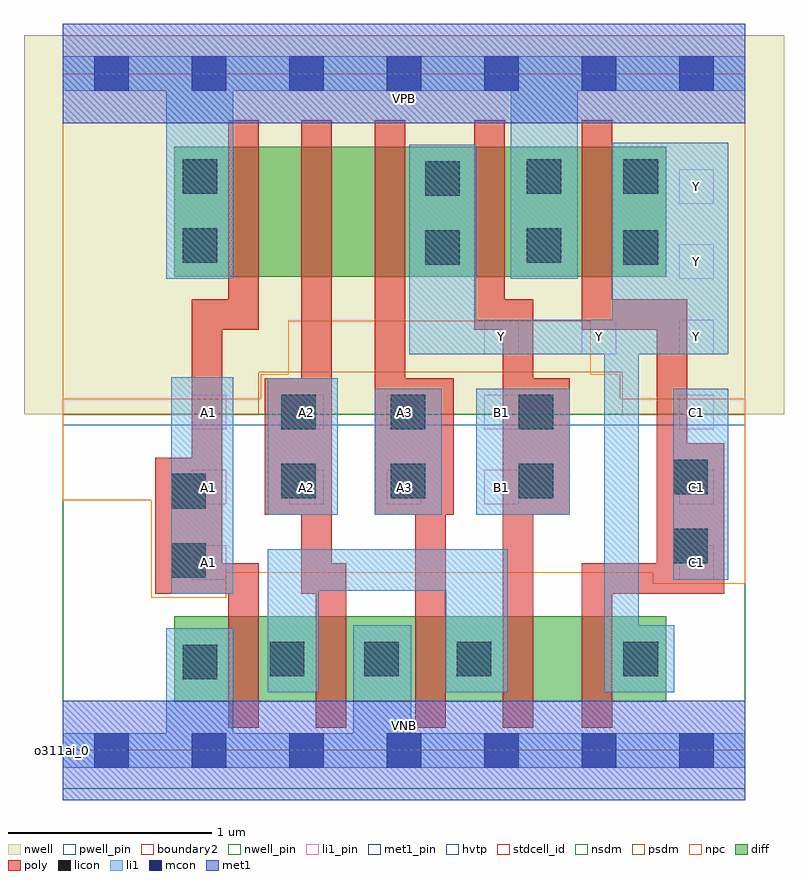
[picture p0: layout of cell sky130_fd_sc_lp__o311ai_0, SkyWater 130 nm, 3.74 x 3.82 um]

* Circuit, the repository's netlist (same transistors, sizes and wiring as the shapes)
* Copyright 2020 The SkyWater PDK Authors
*
* Licensed under the Apache License, Version 2.0 (the "License");
* you may not use this file except in compliance with the License.
* You may obtain a copy of the License at
*
*     https://www.apache.org/licenses/LICENSE-2.0
*
* Unless required by applicable law or agreed to in writing, software
* distributed under the License is distributed on an "AS IS" BASIS,
* WITHOUT WARRANTIES OR CONDITIONS OF ANY KIND, either express or implied.
* See the License for the specific language governing permissions and
* limitations under the License.
*
* SPDX-License-Identifier: Apache-2.0

.SUBCKT sky130_fd_sc_lp__o311ai_0 A1 A2 A3 B1 C1 VGND VNB VPB VPWR Y
*.PININFO A1:I A2:I A3:I B1:I C1:I VGND:I VNB:I VPB:I VPWR:I Y:O
MMPA0 VPWR A1 sndA1 VPB sky130_fd_pr__pfet_01v8_hvt m=1 w=0.64U l=0.15U mult=1
+ sa=0.265 sb=0.265 sd=0.28 area=0.063 perim=1.14
MMPA1 sndA1 A2 sndA2 VPB sky130_fd_pr__pfet_01v8_hvt m=1 w=0.64U l=0.15U mult=1
+ sa=0.265 sb=0.265 sd=0.28 area=0.063 perim=1.14
MMPA2 sndA2 A3 Y VPB sky130_fd_pr__pfet_01v8_hvt m=1 w=0.64U l=0.15U mult=1 sa=0.265
+ sb=0.265 sd=0.28 area=0.063 perim=1.14
MMPB0 VPWR B1 Y VPB sky130_fd_pr__pfet_01v8_hvt m=1 w=0.64U l=0.15U mult=1 sa=0.265
+ sb=0.265 sd=0.28 area=0.063 perim=1.14
MMPC0 VPWR C1 Y VPB sky130_fd_pr__pfet_01v8_hvt m=1 w=0.64U l=0.15U mult=1 sa=0.265
+ sb=0.265 sd=0.28 area=0.063 perim=1.14
MMNA0 pndA A1 VGND VNB sky130_fd_pr__nfet_01v8 m=1 w=0.42U l=0.15U mult=1 sa=0.265
+ sb=0.265 sd=0.28 area=0.063 perim=1.14
MMNA1 pndA A2 VGND VNB sky130_fd_pr__nfet_01v8 m=1 w=0.42U l=0.15U mult=1 sa=0.265
+ sb=0.265 sd=0.28 area=0.063 perim=1.14
MMNA2 pndA A3 VGND VNB sky130_fd_pr__nfet_01v8 m=1 w=0.42U l=0.15U mult=1 sa=0.265
+ sb=0.265 sd=0.28 area=0.063 perim=1.14
MMNB0 pndB B1 pndA VNB sky130_fd_pr__nfet_01v8 m=1 w=0.42U l=0.15U mult=1 sa=0.265
+ sb=0.265 sd=0.28 area=0.063 perim=1.14
MMNC0 Y C1 pndB VNB sky130_fd_pr__nfet_01v8 m=1 w=0.42U l=0.15U mult=1 sa=0.265
+ sb=0.265 sd=0.28 area=0.063 perim=1.14
.ENDS sky130_fd_sc_lp__o311ai_0

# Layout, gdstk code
import gdstk
lib = gdstk.Library(unit=1e-6, precision=1e-09)
def R(c, l, rs):  # rectangles x0, y0, x1, y1
    for r in rs: c.add(gdstk.rectangle(r[:2], r[2:], *l))
def A(c, l, x, y, w, h, nx, ny, dx, dy):  # array of equal rectangles
    R(c, l, [(x+i*dx, y+j*dy, x+i*dx+w, y+j*dy+h) for i in range(nx) for j in range(ny)])
def P(c, l, *ps):  # polygons
    for p in ps: c.add(gdstk.Polygon(p, *l))
nwell_pin = (64, 16)
nwell = (64, 20)
diff = (65, 20)
poly = (66, 20)
licon = (66, 44)
li1_pin = (67, 16)
li1 = (67, 20)
mcon = (67, 44)
met1_pin = (68, 16)
met1 = (68, 20)
hvtp = (78, 44)
stdcell_id = (81, 4)
nsdm = (93, 44)
psdm = (94, 20)
npc = (95, 20)
pwell_pin = (122, 16)
boundary2 = (236, 0)

sky130_fd_sc_lp__o311ai_ = lib.new_cell('sky130_fd_sc_lp__o311ai_0')
R(sky130_fd_sc_lp__o311ai_, nwell_pin, [(0,3.085,3.36,3.33)])
R(sky130_fd_sc_lp__o311ai_, nwell, [(-0.19,1.655,3.55,3.52)])
R(sky130_fd_sc_lp__o311ai_, diff, [(0.55,0.24,2.97,0.66), (0.55,2.33,2.97,2.97)])
P(sky130_fd_sc_lp__o311ai_, poly, [(0.965,0.92),(0.785,0.92),(0.785,2.07),(0.965,2.07),(0.965,3.1),(0.815,3.1),(0.815,2.22),(0.635,2.22),(0.635,1.44),(0.455,1.44),(0.455,0.77),(0.815,0.77),(0.815,0.11),(0.965,0.11)],
  [(1.395,0.92),(1.325,0.92),(1.325,3.1),(1.175,3.1),(1.175,1.83),(0.995,1.83),(0.995,1.16),(1.175,1.16),(1.175,0.77),(1.245,0.77),(1.245,0.11),(1.395,0.11)],
  [(1.925,1.83),(1.685,1.83),(1.685,3.1),(1.535,3.1),(1.535,1.16),(1.735,1.16),(1.735,0.11),(1.885,0.11),(1.885,1.16),(1.925,1.16)],
  [(2.495,1.83),(2.315,1.83),(2.315,2.22),(2.175,2.22),(2.175,3.1),(2.025,3.1),(2.025,2.07),(2.165,2.07),(2.165,0.11),(2.315,0.11),(2.315,1.16),(2.495,1.16)],
  [(3.255,1.51),(3.075,1.51),(3.075,2.22),(2.705,2.22),(2.705,3.1),(2.555,3.1),(2.555,2.07),(2.925,2.07),(2.925,0.92),(2.555,0.92),(2.555,0.11),(2.705,0.11),(2.705,0.77),(3.255,0.77)])
R(sky130_fd_sc_lp__o311ai_, licon, [(0.59,0.35,0.76,0.52), (1.02,0.365,1.19,0.535), (1.485,0.365,1.655,0.535), (1.94,0.365,2.11,0.535), (2.76,0.365,2.93,0.535), (0.535,0.85,0.705,1.02), (3.005,0.92,3.175,1.09), (0.535,1.19,0.705,1.36), (1.075,1.24,1.245,1.41), (1.615,1.24,1.785,1.41), (2.245,1.24,2.415,1.41), (3.005,1.26,3.175,1.43), (1.075,1.58,1.245,1.75), (1.615,1.58,1.785,1.75), (2.245,1.58,2.415,1.75), (1.785,2.39,1.955,2.56), (2.76,2.39,2.93,2.56), (0.59,2.4,0.76,2.57), (2.285,2.4,2.455,2.57), (1.785,2.73,1.955,2.9), (0.59,2.74,0.76,2.91), (2.285,2.74,2.455,2.91), (2.76,2.74,2.93,2.91)])
A(sky130_fd_sc_lp__o311ai_, li1_pin, 3.035, 0.84, 0.17, 0.17, 1, 3, 0, 0.37)
A(sky130_fd_sc_lp__o311ai_, li1_pin, 0.635, 1.21, 0.17, 0.17, 4, 2, 0.48, 0.37)
A(sky130_fd_sc_lp__o311ai_, li1_pin, 2.075, 1.95, 0.17, 0.17, 3, 1, 0.48, 0)
R(sky130_fd_sc_lp__o311ai_, li1_pin, [(0.635,0.84,0.805,1.01), (3.035,2.32,3.205,2.49), (3.035,2.69,3.205,2.86)])
R(sky130_fd_sc_lp__o311ai_, li1, [(0.535,0.77,0.84,1.835), (3.005,0.84,3.275,1.78), (1.01,1.16,1.355,1.83), (1.535,1.16,1.865,1.78), (2.035,1.16,2.495,1.78)])
P(sky130_fd_sc_lp__o311ai_, li1, [(3.275,2.99),(2.705,2.99),(2.705,2.12),(2.035,2.12),(2.035,2.98),(1.705,2.98),(1.705,1.95),(2.665,1.95),(2.665,0.285),(3.01,0.285),(3.01,0.615),(2.835,0.615),(2.835,1.95),(3.275,1.95)],
  [(3.36,3.415),(0,3.415),(0,3.245),(0.51,3.245),(0.51,2.32),(0.84,2.32),(0.84,3.245),(2.205,3.245),(2.205,2.32),(2.535,2.32),(2.535,3.245),(3.36,3.245)],
  [(3.36,0.085),(1.715,0.085),(1.715,0.615),(1.43,0.615),(1.43,0.085),(0.84,0.085),(0.84,0.6),(0.51,0.6),(0.51,0.085),(0,0.085),(0,-0.085),(3.36,-0.085)],
  [(2.19,0.99),(1.01,0.99),(1.01,0.285),(1.26,0.285),(1.26,0.785),(1.885,0.785),(1.885,0.285),(2.19,0.285)])
A(sky130_fd_sc_lp__o311ai_, mcon, 0.155, -0.085, 0.17, 0.17, 7, 2, 0.48, 3.33)
R(sky130_fd_sc_lp__o311ai_, met1_pin, [(0,0,3.36,0.245), (0,3.085,3.36,3.33)])
R(sky130_fd_sc_lp__o311ai_, met1, [(0,-0.245,3.36,0.245), (0,3.085,3.36,3.575)])
R(sky130_fd_sc_lp__o311ai_, hvtp, [(0,1.6,3.36,3.33)])
R(sky130_fd_sc_lp__o311ai_, stdcell_id, [(0,0,3.36,3.33)])
R(sky130_fd_sc_lp__o311ai_, nsdm, [(0,-0.19,3.36,1.655)])
P(sky130_fd_sc_lp__o311ai_, psdm, [(3.36,3.52),(0,3.52),(0,1.655),(0.965,1.655),(0.965,1.86),(2.755,1.86),(2.755,1.655),(3.36,1.655)])
P(sky130_fd_sc_lp__o311ai_, npc, [(3.36,1.73),(2.745,1.73),(2.745,1.85),(2.6,1.85),(2.6,2.115),(1.11,2.115),(1.11,1.85),(0.975,1.85),(0.975,1.73),(0,1.73),(0,1.23),(0.435,1.23),(0.435,0.75),(0.805,0.75),(0.805,0.875),(2.905,0.875),(2.905,0.82),(3.36,0.82)])
R(sky130_fd_sc_lp__o311ai_, pwell_pin, [(0,0,3.36,0.245)])
R(sky130_fd_sc_lp__o311ai_, boundary2, [(0,0,3.36,3.33)])
sky130_fd_sc_lp__o311ai_.add(gdstk.Label('VNB', (1.68,0.123), layer=64, texttype=59))
sky130_fd_sc_lp__o311ai_.add(gdstk.Label('VPB', (1.68,3.208), layer=64, texttype=5))
sky130_fd_sc_lp__o311ai_.add(gdstk.Label('o311ai_0', (0,0), layer=83, texttype=44))
sky130_fd_sc_lp__o311ai_.add(gdstk.Label('VPWR', (1.68,3.208), layer=68, texttype=5))
sky130_fd_sc_lp__o311ai_.add(gdstk.Label('VGND', (1.68,0.123), layer=68, texttype=5))
sky130_fd_sc_lp__o311ai_.add(gdstk.Label('A1', (0.72,0.925), layer=67, texttype=5))
sky130_fd_sc_lp__o311ai_.add(gdstk.Label('A1', (0.72,1.295), layer=67, texttype=5))
sky130_fd_sc_lp__o311ai_.add(gdstk.Label('A1', (0.72,1.665), layer=67, texttype=5))
sky130_fd_sc_lp__o311ai_.add(gdstk.Label('A2', (1.2,1.295), layer=67, texttype=5))
sky130_fd_sc_lp__o311ai_.add(gdstk.Label('A2', (1.2,1.665), layer=67, texttype=5))
sky130_fd_sc_lp__o311ai_.add(gdstk.Label('A3', (1.68,1.295), layer=67, texttype=5))
sky130_fd_sc_lp__o311ai_.add(gdstk.Label('A3', (1.68,1.665), layer=67, texttype=5))
sky130_fd_sc_lp__o311ai_.add(gdstk.Label('Y', (2.16,2.035), layer=67, texttype=5))
sky130_fd_sc_lp__o311ai_.add(gdstk.Label('Y', (2.64,2.035), layer=67, texttype=5))
sky130_fd_sc_lp__o311ai_.add(gdstk.Label('B1', (2.16,1.295), layer=67, texttype=5))
sky130_fd_sc_lp__o311ai_.add(gdstk.Label('B1', (2.16,1.665), layer=67, texttype=5))
sky130_fd_sc_lp__o311ai_.add(gdstk.Label('C1', (3.12,0.925), layer=67, texttype=5))
sky130_fd_sc_lp__o311ai_.add(gdstk.Label('C1', (3.12,1.295), layer=67, texttype=5))
sky130_fd_sc_lp__o311ai_.add(gdstk.Label('C1', (3.12,1.665), layer=67, texttype=5))
sky130_fd_sc_lp__o311ai_.add(gdstk.Label('Y', (3.12,2.775), layer=67, texttype=5))
sky130_fd_sc_lp__o311ai_.add(gdstk.Label('Y', (3.12,2.405), layer=67, texttype=5))
sky130_fd_sc_lp__o311ai_.add(gdstk.Label('Y', (3.12,2.035), layer=67, texttype=5))

lib.write_gds('sky130_fd_sc_lp__o311ai_0.gds')
